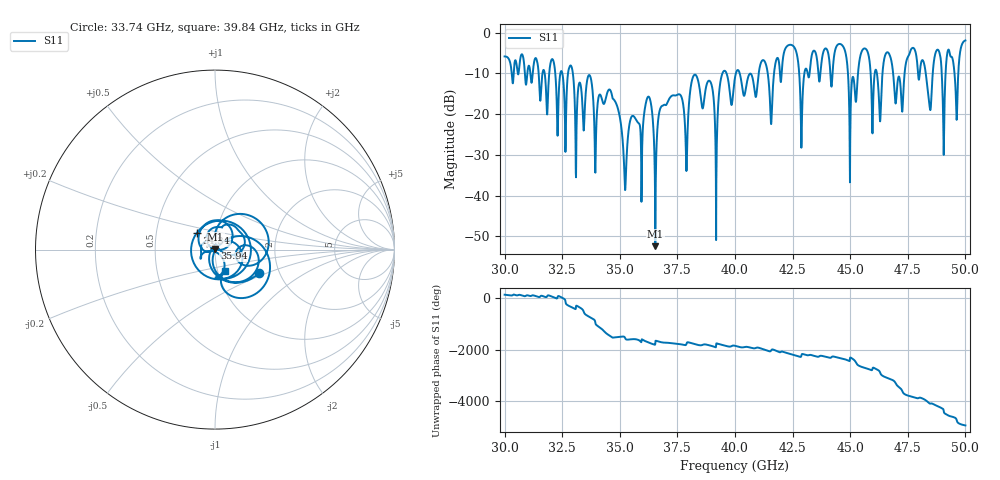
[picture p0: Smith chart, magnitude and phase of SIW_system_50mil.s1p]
! Touchstone file from project SIW_system_50mil
! Exported from HFSS 2017.0.0
! Variables:
!  $D1 = 1.82692307692308mm
!  $Disk_shift = 0mm
!  $G1 = 0.243589743589744mm
!  $G2 = 0.608974358974359mm
!  $S0 = 50mil
!  $S1 = 0.243589743589744mm
!  $S2 = 4.87179487179487mm
!  $SL = 1.46153846153846mm
!  $SW = 0.584615384615385mm
!  $VL = 1.82692307692308mm
!  $VW = 0.618717948717949mm
!  $W = 3.02051282051282mm
!  $W1 = 3.02051282051282mm
!  $extension_from_slot = 4.87179487179487mm
!  $length = 21.9121153846154mm
!  $new_width = 9.68025641025641mm
!  $offset = 0.5mm
!  $patch_step = 3.34935897435897mm
!  $slot_center_to_short = 5.02403846153846mm
!  $slot_side = 0.730769230769231mm
!  $slot_step = 3.34935897435897mm
!  $substrate_edge = 2.23290598290598mm
!  $width = 6.04102564102564mm
!  Hi = 0
!  L1 = 3.3mm
!  L_PD = 9.03490571543203mm
!  L_port1 = 3.55618776671408mm
!  L_port_2_3 = 1.56mm
!  R_PY1 = 0.147083926031294mm
!  W_port1 = 4.26mm
!  W_shoulder_length = 1.81858974358974mm
!  brick_dis = 0.177809388335704mm
!  brick_dist = 0.608974358974359mm
!  delay_d = 1.07mm
!  delay_t = 0.4mm
!  dpy1 = 2.25mm
!  gy_L = 27mm
!  gy_W = 3.02051282051282mm
!  gy_d = 1.11025641025641mm
!  gy_sub_width = 12.0820512820513mm
!  gy_t = 0.4mm
!  leak_gap = 5.5mm
!  sub_width_PD = 9.68025641025641mm
!  w_extra_wall_PD = 0mm
!Data is not renormalized
! Modal data exported
! Port[1] = 1:1
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# GHZ S MA
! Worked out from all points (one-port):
!   2001 points, 30 GHz to 50 GHz, reference per port
!   lowest |S11| = -52.4 dB at 36.54 GHz (marker M1), VSWR 1.00
!   |S11| at or under -10 dB: 32.96 GHz to 39.45 GHz (6.492 GHz wide, 17.9 % of centre); 40.2 GHz to 41.03 GHz (825.8 MHz wide, 2.03 % of centre); 46.86 GHz to 47.36 GHz (498 MHz wide, 1.06 % of centre)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
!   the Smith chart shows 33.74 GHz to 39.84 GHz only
!   S11 on the Smith chart (normalised r, x): 33.74 GHz: 1.56, -0.45; 34.34 GHz: 0.80, +0.15; 35.94 GHz: 0.99, +0.02; 39.84 GHz: 1.09, -0.26
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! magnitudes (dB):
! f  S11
! 30 GHz  -5.9
! 32.5 GHz  -9.9
! 33.74 GHz  -11.2
! 34.34 GHz  -17.2
! 35 GHz  -20.7
! 35.22 GHz  -37.8
! 35.94 GHz  -41.5
! 36.26 GHz  -15.7
! 36.54 GHz  -52.4
! 37.5 GHz  -15.3
! 37.88 GHz  -31.9
! 38.23 GHz  -10.4
! 39.18 GHz  -50.9
! 39.47 GHz  -9.8
! 39.84 GHz  -17.7
! 40 GHz  -11.0
! 41.57 GHz  -22.5
! 42.5 GHz  -3.2
! 42.9 GHz  -23.2
! 44.64 GHz  -3.0
! 45 GHz  -26.6
! 45.58 GHz  -4.0
! 46.28 GHz  -20.3
! 47.5 GHz  -6.0
! 48.45 GHz  -18.3
! 48.82 GHz  -4.3
! 49.06 GHz  -30.0
! 50 GHz  -1.9
